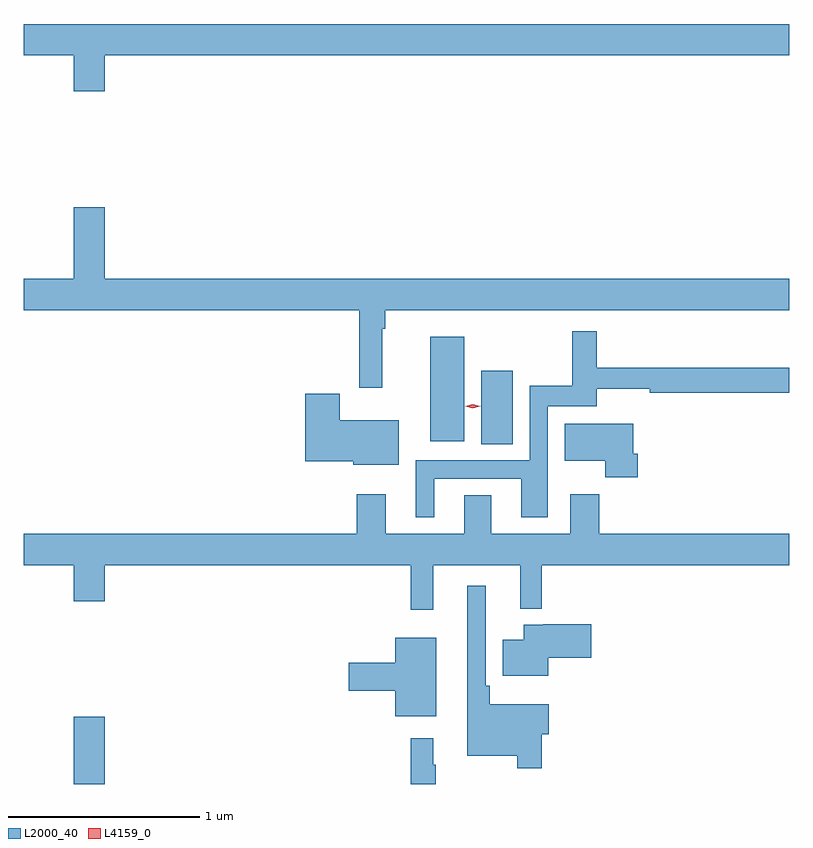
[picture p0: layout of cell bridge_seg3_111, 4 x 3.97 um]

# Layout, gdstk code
import gdstk
lib = gdstk.Library(unit=1e-6, precision=1e-09)
def R(c, l, rs):  # rectangles x0, y0, x1, y1
    for r in rs: c.add(gdstk.rectangle(r[:2], r[2:], *l))
def P(c, l, *ps):  # polygons
    for p in ps: c.add(gdstk.Polygon(p, *l))
L2000_40 = (2000, 40)
L4159_0 = (4159, 0)

bridge_seg3_111 = lib.new_cell('bridge_seg3_111')
R(bridge_seg3_111, L2000_40, [(356.816,719.752,356.98,720.103), (358.946,721.528,359.11,721.912), (358.679,721.544,358.858,722.089)])
P(bridge_seg3_111, L2000_40, [(356.98,723.56),(360.556,723.56),(360.556,723.724),(356.556,723.724),(356.556,723.56),(356.816,723.56),(356.816,723.372),(356.98,723.372)],
  [(358.428,722.132),(358.445,722.132),(358.445,722.228),(360.556,722.228),(360.556,722.392),(356.98,722.392),(356.98,722.767),(356.816,722.767),(356.816,722.392),(356.556,722.392),(356.556,722.228),(358.309,722.228),(358.309,721.824),(358.428,721.824)],
  [(358.702,721.347),(359.156,721.347),(359.156,721.146),(359.295,721.146),(359.295,721.725),(359.549,721.725),(359.549,721.817),(359.826,721.817),(359.826,721.798),(360.556,721.798),(360.556,721.927),(359.549,721.927),(359.549,722.119),(359.421,722.119),(359.421,721.834),(359.199,721.834),(359.199,721.443),(358.604,721.443),(358.604,721.146),(358.702,721.146)],
  [(358.516,721.654),(358.206,721.654),(358.206,721.792),(358.028,721.792),(358.028,721.439),(358.278,721.439),(358.278,721.421),(358.516,721.421)],
  [(359.765,721.479),(359.74,721.479),(359.74,721.636),(359.384,721.636),(359.384,721.442),(359.594,721.442),(359.594,721.354),(359.765,721.354)],
  [(360.556,721.06),(359.564,721.06),(359.564,721.267),(359.411,721.267),(359.411,721.06),(358.999,721.06),(358.999,721.262),(358.859,721.262),(358.859,721.06),(358.447,721.06),(358.447,721.267),(358.295,721.267),(358.295,721.06),(356.556,721.06),(356.556,720.896),(356.816,720.896),(356.816,720.708),(356.98,720.708),(356.98,720.896),(358.579,720.896),(358.579,720.663),(358.697,720.663),(358.697,720.896),(359.15,720.896),(359.15,720.668),(359.262,720.668),(359.262,720.896),(360.556,720.896)],
  [(359.264,720.011),(359.299,720.011),(359.299,720.169),(358.991,720.169),(358.991,720.265),(358.971,720.265),(358.971,720.787),(358.874,720.787),(358.874,719.9),(359.136,719.9),(359.136,719.835),(359.264,719.835)],
  [(359.296,720.413),(359.521,720.413),(359.521,720.588),(359.272,720.588),(359.272,720.583),(359.168,720.583),(359.168,720.505),(359.06,720.505),(359.06,720.317),(359.296,720.317)],
  [(358.711,720.517),(358.496,720.517),(358.496,720.386),(358.254,720.386),(358.254,720.239),(358.496,720.239),(358.496,720.107),(358.711,720.107)],
  [(358.708,719.852),(358.696,719.852),(358.696,719.992),(358.579,719.992),(358.579,719.752),(358.708,719.752)])
P(bridge_seg3_111, L4159_0, [(358.902,721.717),(358.862,721.727),(358.862,721.727),(358.862,721.727),(358.902,721.737),(358.942,721.727),(358.942,721.726),(358.942,721.726)])

lib.write_gds('bridge_seg3_111.gds')
